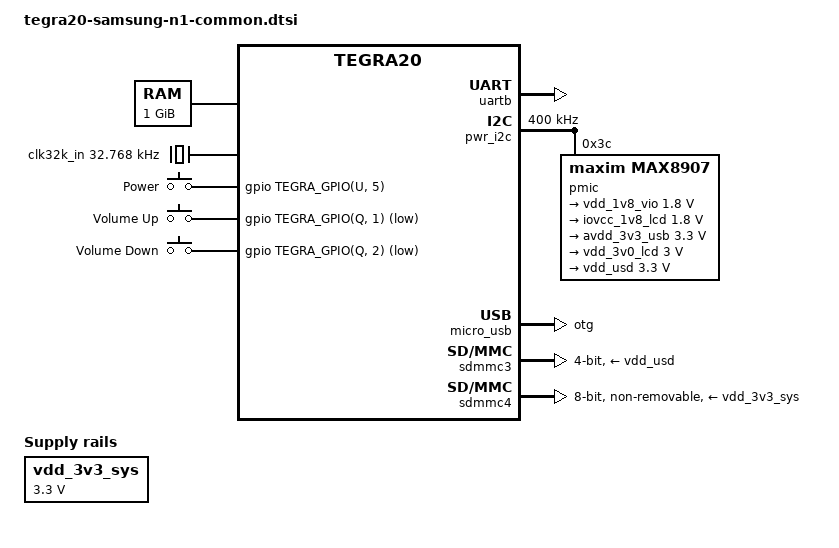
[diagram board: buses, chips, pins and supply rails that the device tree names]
// SPDX-License-Identifier: GPL-2.0
/dts-v1/;

#include <dt-bindings/input/input.h>

#include "tegra20.dtsi"

/ {
	chosen {
		stdout-path = &uartb;
	};

	aliases {
		i2c0 = &pwr_i2c;

		mmc0 = &sdmmc4;	/* eMMC */
		mmc1 = &sdmmc3; /* uSD slot */

		rtc0 = &pmic;
		rtc1 = "/rtc@7000e000";

		usb0 = &micro_usb;
	};

	memory {
		device_type = "memory";
		reg = <0x00000000 0x40000000>; /* 1 GB */
	};

	uartb: serial@70006040 {
		clocks = <&tegra_car 7>;
		status = "okay";
	};

	pwr_i2c: i2c@7000d000 {
		status = "okay";
		clock-frequency = <400000>;

		pmic: max8907@3c {
			compatible = "maxim,max8907";
			reg = <0x3c>;

			interrupts = <GIC_SPI 86 IRQ_TYPE_LEVEL_HIGH>;
			#interrupt-cells = <2>;
			interrupt-controller;

			#gpio-cells = <2>;
			gpio-controller;

			maxim,system-power-controller;

			regulators {
				vdd_1v8_vio: sd3 {
					regulator-name = "vcc_1v8_io";
					regulator-min-microvolt = <1800000>;
					regulator-max-microvolt = <1800000>;
					regulator-always-on;
					regulator-boot-on;
				};

				// check if/where needed
				iovcc_1v8_lcd: ldo3 {
					regulator-name = "vcc_1v8_lcd";
					regulator-min-microvolt = <1800000>;
					regulator-max-microvolt = <1800000>;
					regulator-always-on;
					regulator-boot-on;
				};

				avdd_3v3_usb: ldo4 {
					regulator-name = "avdd_3v3_usb";
					regulator-min-microvolt = <3300000>;
					regulator-max-microvolt = <3300000>;
					regulator-always-on;
					regulator-boot-on;
				};

				// check if/where needed
				vdd_3v0_lcd: ldo12 {
					regulator-name = "vdd_3v0_lcd";
					regulator-min-microvolt = <3000000>;
					regulator-max-microvolt = <3000000>;
					regulator-boot-on;
				};

				vdd_usd: ldo16 {
					regulator-name = "vcc_3v3_usd";
					regulator-min-microvolt = <3300000>;
					regulator-max-microvolt = <3300000>;
					regulator-boot-on;
				};
			};
		};
	};

	micro_usb: usb@c5000000 {
		status = "okay";
		dr_mode = "otg";
	};

	usb-phy@c5000000 {
		status = "okay";
		vbus-supply = <&avdd_3v3_usb>;
	};

	sdmmc3: sdhci@c8000400 {
		status = "okay";
		bus-width = <4>;

		vmmc-supply = <&vdd_usd>;
		vqmmc-supply = <&vdd_1v8_vio>;
	};

	sdmmc4: sdhci@c8000600 {
		status = "okay";
		bus-width = <8>;
		non-removable;

		vmmc-supply = <&vdd_3v3_sys>;
		vqmmc-supply = <&vdd_1v8_vio>;
	};

	/* 32KHz oscillator which is used by PMC */
	clk32k_in: clock-32k-in {
		compatible = "fixed-clock";
		#clock-cells = <0>;
		clock-frequency = <32768>;
		clock-output-names = "ref-oscillator";
	};

	gpio-keys {
		compatible = "gpio-keys";

		key-power {
			label = "Power";
			gpios = <&gpio TEGRA_GPIO(U, 5) GPIO_ACTIVE_HIGH>;
			linux,code = <KEY_ENTER>;
		};

		key-volume-up {
			label = "Volume Up";
			gpios = <&gpio TEGRA_GPIO(Q, 1) GPIO_ACTIVE_LOW>;
			linux,code = <KEY_UP>;
		};

		key-volume-down {
			label = "Volume Down";
			gpios = <&gpio TEGRA_GPIO(Q, 2) GPIO_ACTIVE_LOW>;
			linux,code = <KEY_DOWN>;
		};
	};

	vdd_3v3_sys: regulator-3v3 {
		compatible = "regulator-fixed";
		regulator-name = "vdd_3v3_vs";
		regulator-min-microvolt = <3300000>;
		regulator-max-microvolt = <3300000>;
		regulator-always-on;
	};
};
